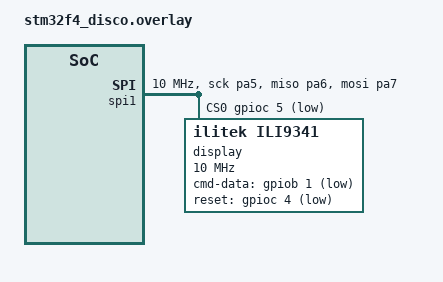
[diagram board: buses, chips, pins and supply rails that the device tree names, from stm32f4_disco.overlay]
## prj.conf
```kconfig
# Peripherals
CONFIG_GPIO=y
CONFIG_PWM=y
CONFIG_CAN=y
CONFIG_SPI=y
CONFIG_DISPLAY=y
CONFIG_HEAP_MEM_POOL_SIZE=16384


# Systemview
CONFIG_SEGGER_SYSTEMVIEW=y
CONFIG_TRACING=y
```

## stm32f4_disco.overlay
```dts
/ {

};

spi: &spi1 {
	status = "okay";
	pinctrl-0 = <&spi1_sck_pa5 &spi1_miso_pa6 &spi1_mosi_pa7>;
	cs-gpios = < &gpioc 5 GPIO_ACTIVE_LOW >;
	pinctrl-names = "default";
	clock-frequency = <10000000>;
	

	display: ili9341@0 {
		status = "okay";
		compatible = "ilitek,ili9341";
		cmd-data-gpios = <&gpiob 1 GPIO_ACTIVE_LOW>;
		reset-gpios = < &gpioc 4 GPIO_ACTIVE_LOW >;
		reg = <0x0 >;
		spi-max-frequency = <10000000>;
		height = <0>;
		width = <0>;
	};
};	
```

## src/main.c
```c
/*
 * Copyright (c) 2019 Jan Van Winkel <jan.van_winkel@dxplore.eu>
 *
 * Based on ST7789V sample:
 * Copyright (c) 2019 Marc Reilly
 *
 * SPDX-License-Identifier: Apache-2.0
 */

#include <zephyr/logging/log.h>
LOG_MODULE_REGISTER(sample, LOG_LEVEL_INF);

#include <zephyr/kernel.h>
#include <zephyr/device.h>
#include <zephyr/drivers/display.h>

#ifdef CONFIG_ARCH_POSIX
#include "posix_board_if.h"
#endif

#ifdef CONFIG_ARCH_POSIX
#define RETURN_FROM_MAIN(exit_code) posix_exit_main(exit_code)
#else
#define RETURN_FROM_MAIN(exit_code) return
#endif

enum corner {
	TOP_LEFT,
	TOP_RIGHT,
	BOTTOM_RIGHT,
	BOTTOM_LEFT
};

typedef void (*fill_buffer)(enum corner corner, uint8_t grey, uint8_t *buf,
			    size_t buf_size);


#ifdef CONFIG_ARCH_POSIX
static void posix_exit_main(int exit_code)
{
#if CONFIG_TEST
	if (exit_code == 0) {
		LOG_INF("PROJECT EXECUTION SUCCESSFUL");
	} else {
		LOG_INF("PROJECT EXECUTION FAILED");
	}
#endif
	posix_exit(exit_code);
}
#endif

static void fill_buffer_argb8888(enum corner corner, uint8_t grey, uint8_t *buf,
				 size_t buf_size)
{
	uint32_t color = 0;

	switch (corner) {
	case TOP_LEFT:
		color = 0x00FF0000u;
		break;
	case TOP_RIGHT:
		color = 0x0000FF00u;
		break;
	case BOTTOM_RIGHT:
		color = 0x000000FFu;
		break;
	case BOTTOM_LEFT:
		color = grey << 16 | grey << 8 | grey;
		break;
	}

	for (size_t idx = 0; idx < buf_size; idx += 4) {
		*((uint32_t *)(buf + idx)) = color;
	}
}

static void fill_buffer_rgb888(enum corner corner, uint8_t grey, uint8_t *buf,
			       size_t buf_size)
{
	uint32_t color = 0;

	switch (corner) {
	case TOP_LEFT:
		color = 0x00FF0000u;
		break;
	case TOP_RIGHT:
		color = 0x0000FF00u;
		break;
	case BOTTOM_RIGHT:
		color = 0x000000FFu;
		break;
	case BOTTOM_LEFT:
		color = grey << 16 | grey << 8 | grey;
		break;
	}

	for (size_t idx = 0; idx < buf_size; idx += 3) {
		*(buf + idx + 0) = color >> 16;
		*(buf + idx + 1) = color >> 8;
		*(buf + idx + 2) = color >> 0;
	}
}

static uint16_t get_rgb565_color(enum corner corner, uint8_t grey)
{
	uint16_t color = 0;
	uint16_t grey_5bit;

	switch (corner) {
	case TOP_LEFT:
		color = 0xF800u;
		break;
	case TOP_RIGHT:
		color = 0x07E0u;
		break;
	case BOTTOM_RIGHT:
		color = 0x001Fu;
		break;
	case BOTTOM_LEFT:
		grey_5bit = grey & 0x1Fu;
		/* shift the green an extra bit, it has 6 bits */
		color = grey_5bit << 11 | grey_5bit << (5 + 1) | grey_5bit;
		break;
	}
	return color;
}

static void fill_buffer_rgb565(enum corner corner, uint8_t grey, uint8_t *buf,
			       size_t buf_size)
{
	uint16_t color = get_rgb565_color(corner, grey);

	for (size_t idx = 0; idx < buf_size; idx += 2) {
		*(buf + idx + 0) = (color >> 8) & 0xFFu;
		*(buf + idx + 1) = (color >> 0) & 0xFFu;
	}
}

static void fill_buffer_bgr565(enum corner corner, uint8_t grey, uint8_t *buf,
			       size_t buf_size)
{
	uint16_t color = get_rgb565_color(corner, grey);

	for (size_t idx = 0; idx < buf_size; idx += 2) {
		*(uint16_t *)(buf + idx) = color;
	}
}

static void fill_buffer_mono(enum corner corner, uint8_t grey, uint8_t *buf,
			     size_t buf_size)
{
	uint16_t color;

	switch (corner) {
	case BOTTOM_LEFT:
		color = (grey & 0x01u) ? 0xFFu : 0x00u;
		break;
	default:
		color = 0;
		break;
	}

	memset(buf, color, buf_size);
}

void main(void)
{
	size_t x;
	size_t y;
	size_t rect_w;
	size_t rect_h;
	size_t h_step;
	size_t scale;
	size_t grey_count;
	uint8_t *buf;
	int32_t grey_scale_sleep;
	const struct device *display_dev;
	struct display_capabilities capabilities;
	struct display_buffer_descriptor buf_desc;
	size_t buf_size = 0;
	fill_buffer fill_buffer_fnc = NULL;

	display_dev = DEVICE_DT_GET(DT_NODELABEL(display));
	if (!device_is_ready(display_dev)) {
		LOG_ERR("Device %s not found. Aborting sample.",
			display_dev->name);
		RETURN_FROM_MAIN(1);
	}

	LOG_INF("Display sample for %s", display_dev->name);
	display_get_capabilities(display_dev, &capabilities);

	if (capabilities.screen_info & SCREEN_INFO_MONO_VTILED) {
		rect_w = 16;
		rect_h = 8;
	} else {
		rect_w = 2;
		rect_h = 1;
	}

	h_step = rect_h;
	scale = (capabilities.x_resolution / 8) / rect_h;

	rect_w *= scale;
	rect_h *= scale;

	if (capabilities.screen_info & SCREEN_INFO_EPD) {
		grey_scale_sleep = 10000;
	} else {
		grey_scale_sleep = 100;
	}

	buf_size = rect_w * rect_h;

	if (buf_size < (capabilities.x_resolution * h_step)) {
		buf_size = capabilities.x_resolution * h_step;
	}

	switch (capabilities.current_pixel_format) {
	case PIXEL_FORMAT_ARGB_8888:
		fill_buffer_fnc = fill_buffer_argb8888;
		buf_size *= 4;
		break;
	case PIXEL_FORMAT_RGB_888:
		fill_buffer_fnc = fill_buffer_rgb888;
		buf_size *= 3;
		break;
	case PIXEL_FORMAT_RGB_565:
		fill_buffer_fnc = fill_buffer_rgb565;
		buf_size *= 2;
		break;
	case PIXEL_FORMAT_BGR_565:
		fill_buffer_fnc = fill_buffer_bgr565;
		buf_size *= 2;
		break;
	case PIXEL_FORMAT_MONO01:
	case PIXEL_FORMAT_MONO10:
		fill_buffer_fnc = fill_buffer_mono;
		buf_size /= 8;
		break;
	default:
		LOG_ERR("Unsupported pixel format. Aborting sample.");
		RETURN_FROM_MAIN(1);
	}

	buf = k_malloc(buf_size);

	if (buf == NULL) {
		LOG_ERR("Could not allocate memory. Aborting sample.");
		RETURN_FROM_MAIN(1);
	}

	(void)memset(buf, 0xFFu, buf_size);

	buf_desc.buf_size = buf_size;
	buf_desc.pitch = capabilities.x_resolution;
	buf_desc.width = capabilities.x_resolution;
	buf_desc.height = h_step;

	for (int idx = 0; idx < capabilities.y_resolution; idx += h_step) {
		display_write(display_dev, 0, idx, &buf_desc, buf);
	}

	buf_desc.pitch = rect_w;
	buf_desc.width = rect_w;
	buf_desc.height = rect_h;

	fill_buffer_fnc(TOP_LEFT, 0, buf, buf_size);
	x = 0;
	y = 0;
	display_write(display_dev, x, y, &buf_desc, buf);

	fill_buffer_fnc(TOP_RIGHT, 0, buf, buf_size);
	x = capabilities.x_resolution - rect_w;
	y = 0;
	display_write(display_dev, x, y, &buf_desc, buf);

	fill_buffer_fnc(BOTTOM_RIGHT, 0, buf, buf_size);
	x = capabilities.x_resolution - rect_w;
	y = capabilities.y_resolution - rect_h;
	display_write(display_dev, x, y, &buf_desc, buf);

	display_blanking_off(display_dev);

	grey_count = 0;
	x = 0;
	y = capabilities.y_resolution - rect_h;

	while (1) {
		LOG_INF("Could not allocate memory. Aborting sample.");

		fill_buffer_fnc(BOTTOM_LEFT, grey_count, buf, buf_size);
		display_write(display_dev, x, y, &buf_desc, buf);
		++grey_count;
		k_msleep(grey_scale_sleep);
#if CONFIG_TEST
		if (grey_count >= 1024) {
			break;
		}
#endif
	}

	RETURN_FROM_MAIN(0);
}
```
